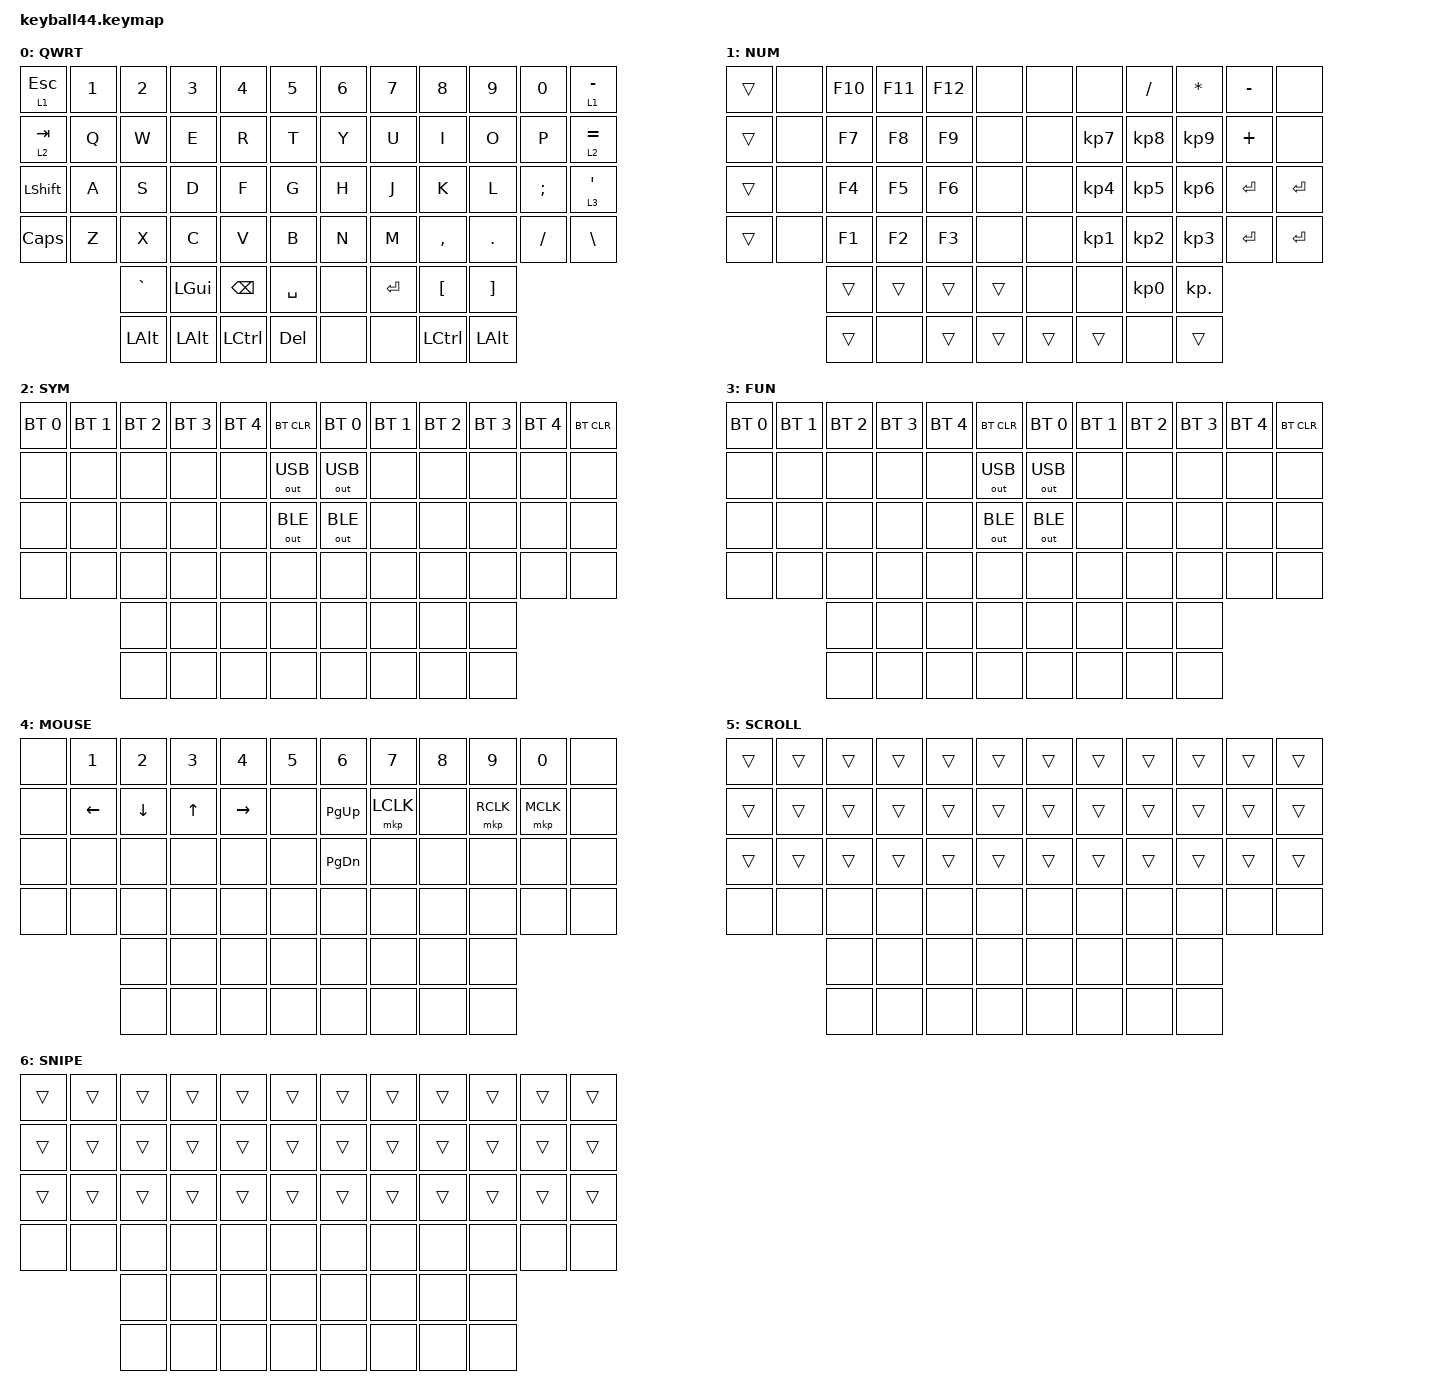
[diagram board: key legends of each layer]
#define DEFAULT 0
#define NUM     1
#define SYM     2
#define FUN     3
#define MOUSE   4
#define SCROLL  5
#define SNIPE   6

#include <behaviors/mouse_keys.dtsi>
#include <behaviors.dtsi>
#include <dt-bindings/zmk/bt.h>
#include <dt-bindings/zmk/keys.h>
#include <dt-bindings/zmk/mouse.h>
#include <dt-bindings/zmk/outputs.h>


&lt {
    tapping-term-ms = <240>;
    flavor = "balanced";
    quick-tap-ms = <150>;
};

&mt {
    tapping-term-ms = <200>;
    flavor = "tap-preferred";
    quick-tap-ms = <150>;
};

&caps_word { continue-list = <UNDERSCORE MINUS>; };

/ {
  
    keymap {
        compatible = "zmk,keymap";

        default_layer {
            label = "QWRT";
            bindings = <
&lt 1 ESC  &kp N1  &kp N2     &kp N3    &kp N4     &kp N5     &kp N6  &kp N7   &kp N8     &kp N9    &kp N0    &lt 1 MINUS
&lt 2 TAB  &kp Q   &kp W      &kp E     &kp R      &kp T      &kp Y   &kp U    &kp I      &kp O     &kp P     &lt 2 EQUAL
&kp LSHFT  &kp A   &kp S      &kp D     &kp F      &kp G      &kp H   &kp J    &kp K      &kp L     &kp SEMI  &lt 3 SQT
&kp CAPS   &kp Z   &kp X      &kp C     &kp V      &kp B      &kp N   &kp M    &kp COMMA  &kp DOT   &kp FSLH  &kp BSLH
                   &kp GRAVE  &kp LGUI  &kp BSPC   &kp SPACE  &none   &kp RET  &kp LBKT   &kp RBKT
                   &kp LALT   &kp LALT  &kp LCTRL  &kp DEL    &none   &none    &kp LCTRL  &kp LALT                          
            >;
        };

        number_layer {
            label = "NUM";
            bindings = <
&trans  &none  &kp F10  &kp F11  &kp F12  &none   &none   &none      &kp FSLH   &kp STAR    &kp MINUS  &none
&trans  &none  &kp F7   &kp F8   &kp F9   &none   &none   &kp KP_N7  &kp KP_N8  &kp KP_N9   &kp PLUS   &none
&trans  &none  &kp F4   &kp F5   &kp F6   &none   &none   &kp KP_N4  &kp KP_N5  &kp KP_N6   &kp ENTER  &kp RET
&trans  &none  &kp F1   &kp F2   &kp F3   &none   &none   &kp KP_N1  &kp KP_N2  &kp KP_N3   &kp ENTER  &kp ENTER
               &trans   &trans   &trans   &trans  &none   &none      &kp KP_N0  &kp KP_DOT
               &trans   &none    &trans   &trans  &trans  &trans     &none      &trans                                                
            >;
        };

        symbol_layer {
            label = "SYM";
            bindings = <
&bt BT_SEL 0  &bt BT_SEL 1  &bt BT_SEL 2  &bt BT_SEL 3  &bt BT_SEL 4  &bt BT_CLR    &bt BT_SEL 0  &bt BT_SEL 1  &bt BT_SEL 2  &bt BT_SEL 3  &bt BT_SEL 4  &bt BT_CLR
&none         &none         &none         &none         &none         &out OUT_USB  &out OUT_USB  &none         &none         &none         &none         &none
&none         &none         &none         &none         &none         &out OUT_BLE  &out OUT_BLE  &none         &none         &none         &none         &none
&none         &none         &none         &none         &none         &none         &none         &none         &none         &none         &none         &none
                            &none         &none         &none         &none         &none         &none         &none         &none
                            &none         &none         &none         &none         &none         &none         &none         &none                                                                                
            >;
        };

        function_layer {
            label = "FUN";
            bindings = <
&bt BT_SEL 0  &bt BT_SEL 1  &bt BT_SEL 2  &bt BT_SEL 3  &bt BT_SEL 4  &bt BT_CLR    &bt BT_SEL 0  &bt BT_SEL 1  &bt BT_SEL 2  &bt BT_SEL 3  &bt BT_SEL 4  &bt BT_CLR
&none         &none         &none         &none         &none         &out OUT_USB  &out OUT_USB  &none         &none         &none         &none         &none
&none         &none         &none         &none         &none         &out OUT_BLE  &out OUT_BLE  &none         &none         &none         &none         &none
&none         &none         &none         &none         &none         &none         &none         &none         &none         &none         &none         &none
                            &none         &none         &none         &none         &none         &none         &none         &none
                            &none         &none         &none         &none         &none         &none         &none         &none
            >;
        };

        mouse_layer {
            label = "MOUSE";
            bindings = <
&none   &kp N1          &kp N2          &kp N3        &kp N4     &kp N5              &kp N6         &kp N7     &kp N8  &kp N9     &kp N0     &none
&none   &kp LEFT_ARROW  &kp DOWN_ARROW  &kp UP_ARROW  &kp RIGHT  &none               &kp PAGE_UP    &mkp LCLK  &none   &mkp RCLK  &mkp MCLK  &none
&none   &none           &none           &none         &none      &none               &kp PAGE_DOWN  &none      &none   &none      &none      &none
&none         &none         &none         &none         &none         &none         &none         &none         &none         &none         &none         &none
                            &none         &none         &none         &none         &none         &none         &none         &none
                            &none         &none         &none         &none         &none         &none         &none         &none
            >;
        };

        scroll_layer {
            label = "SCROLL";
            bindings = <
&trans  &trans  &trans  &trans  &trans  &trans              &trans  &trans  &trans  &trans  &trans  &trans
&trans  &trans  &trans  &trans  &trans  &trans              &trans  &trans  &trans  &trans  &trans  &trans
&trans  &trans  &trans  &trans  &trans  &trans              &trans  &trans  &trans  &trans  &trans  &trans
&none         &none         &none         &none         &none         &none         &none         &none         &none         &none         &none         &none
                            &none         &none         &none         &none         &none         &none         &none         &none
                            &none         &none         &none         &none         &none         &none         &none         &none
            >;
        };

        snipe_layer {
            label = "SNIPE";
            bindings = <
&trans  &trans  &trans  &trans  &trans  &trans              &trans  &trans  &trans  &trans  &trans  &trans
&trans  &trans  &trans  &trans  &trans  &trans              &trans  &trans  &trans  &trans  &trans  &trans
&trans  &trans  &trans  &trans  &trans  &trans              &trans  &trans  &trans  &trans  &trans  &trans
&none         &none         &none         &none         &none         &none         &none         &none         &none         &none         &none         &none
                            &none         &none         &none         &none         &none         &none         &none         &none
                            &none         &none         &none         &none         &none         &none         &none         &none
            >;
        };
    };
};
